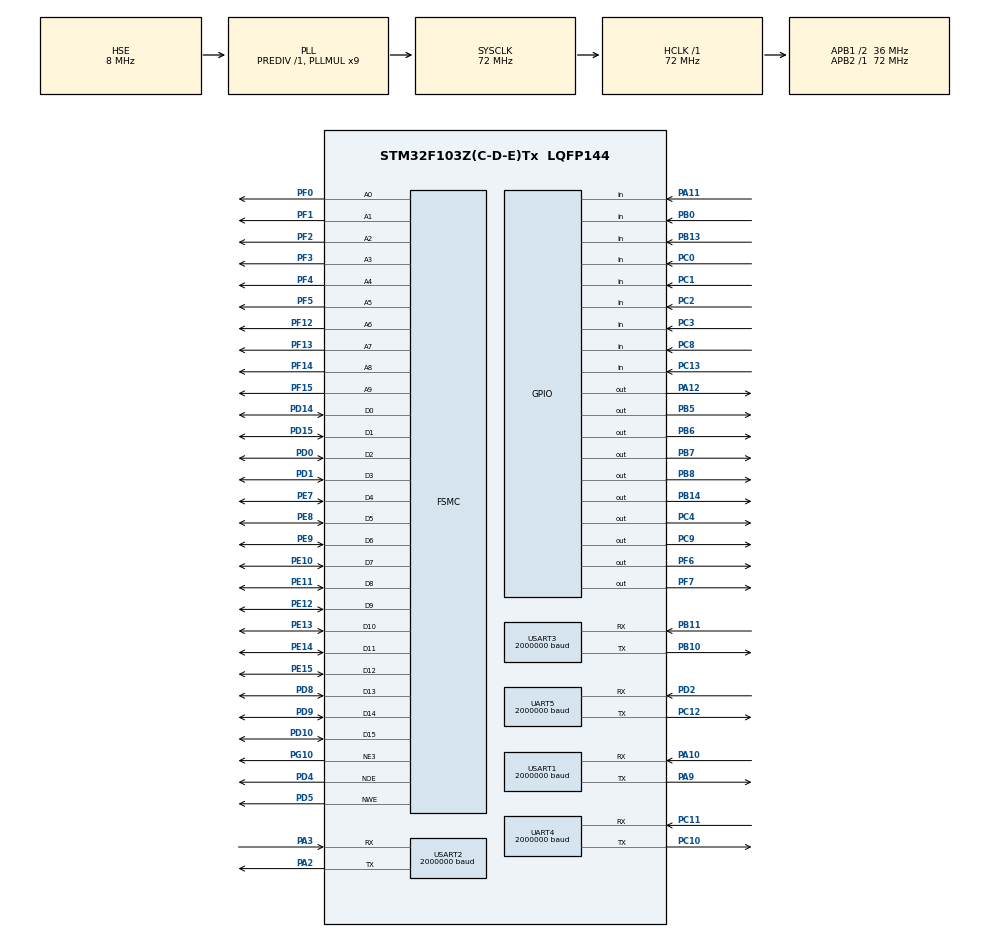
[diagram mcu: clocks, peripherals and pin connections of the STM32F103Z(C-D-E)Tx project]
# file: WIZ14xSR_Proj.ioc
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Dma.USART3_RX.6.Instance=DMA1_Channel3
SH.FSMC_D1_DA1.0=FSMC_D1,16b-d3
PB10.Mode=Asynchronous
Dma.USART3_TX.3.MemInc=DMA_MINC_ENABLE
PC12.Signal=UART5_TX
SH.FSMC_NWE.0=FSMC_NWE,Sram3
Dma.USART3_TX.3.MemDataAlignment=DMA_MDATAALIGN_BYTE
PB13.Signal=GPIO_Input
RCC.SYSCLKSource=RCC_SYSCLKSOURCE_PLLCLK
NVIC.DMA1_Channel3_IRQn=true\:0\:0\:false\:false\:true\:false\:true
Dma.USART2_TX.2.PeriphDataAlignment=DMA_PDATAALIGN_BYTE
USART3.BaudRate=2000000
Dma.UART4_TX.0.Direction=DMA_MEMORY_TO_PERIPH
PF7.Signal=GPIO_Output
Dma.UART4_TX.0.MemDataAlignment=DMA_MDATAALIGN_BYTE
PD4.Signal=FSMC_NOE
RCC.APB2TimFreq_Value=72000000
PB6.Signal=GPIO_Output
PC3.Signal=GPIO_Input
PD0.Signal=FSMC_D2_DA2
PD8.Signal=FSMC_D13_DA13
Dma.USART2_TX.2.Priority=DMA_PRIORITY_LOW
SH.FSMC_D10_DA10.0=FSMC_D10,16b-d3
Dma.USART3_RX.6.Direction=DMA_PERIPH_TO_MEMORY
PE9.Signal=FSMC_D6_DA6
SH.FSMC_A0.0=FSMC_A0,10b-a3
Dma.USART2_TX.2.MemDataAlignment=DMA_MDATAALIGN_BYTE
NVIC.TIM2_IRQn=true\:0\:0\:false\:false\:true\:true\:true
NVIC.DMA2_Channel3_IRQn=true\:0\:0\:false\:false\:true\:false\:true
PF3.Signal=FSMC_A3
PE10.Signal=FSMC_D7_DA7
SH.FSMC_D5_DA5.0=FSMC_D5,16b-d3
Mcu.Package=LQFP144
TIM2.Prescaler=1000
Dma.USART1_RX.4.Direction=DMA_PERIPH_TO_MEMORY
Dma.USART2_RX.5.PeriphDataAlignment=DMA_PDATAALIGN_BYTE
PA10.Signal=USART1_RX
PC11.Mode=Asynchronous
SH.FSMC_A1.0=FSMC_A1,10b-a3
FSMC.BusTurnAroundDuration3=0
SH.FSMC_D3_DA3.0=FSMC_D3,16b-d3
PF14.Signal=FSMC_A8
RCC.APB1TimFreq_Value=72000000
UART5.BaudRate=2000000
FSMC.WriteOperation3=FSMC_WRITE_OPERATION_ENABLE
NVIC.DMA1_Channel4_IRQn=true\:0\:0\:false\:false\:true\:false\:true
NVIC.USART1_IRQn=true\:0\:0\:false\:false\:true\:true\:true
PD15.Signal=FSMC_D1_DA1
NVIC.UART4_IRQn=true\:0\:0\:false\:false\:true\:true\:true
NVIC.DMA1_Channel6_IRQn=true\:0\:0\:false\:false\:true\:false\:true
SH.FSMC_A2.0=FSMC_A2,10b-a3
Dma.USART3_RX.6.MemDataAlignment=DMA_MDATAALIGN_BYTE
Dma.USART2_TX.2.MemInc=DMA_MINC_ENABLE
PC2.Signal=GPIO_Input
PD1.Signal=FSMC_D3_DA3
Dma.USART1_RX.4.Priority=DMA_PRIORITY_LOW
SH.FSMC_D9_DA9.0=FSMC_D9,16b-d3
UART5.VirtualMode=Asynchronous
Dma.USART1_RX.4.Mode=DMA_CIRCULAR
PC0.Signal=GPIO_Input
RCC.APB1CLKDivider=RCC_HCLK_DIV2
UART4.VirtualMode=Asynchronous
Dma.USART3_RX.6.PeriphInc=DMA_PINC_DISABLE
VP_SYS_VS_ND.Mode=No_Debug
USART2.BaudRate=2000000
Dma.USART3_TX.3.PeriphInc=DMA_PINC_DISABLE
PG10.Signal=FSMC_NE3
SH.FSMC_D8_DA8.0=FSMC_D8,16b-d3
PD10.Signal=FSMC_D15_DA15
PA3.Mode=Asynchronous
PB11.Mode=Asynchronous
Dma.UART4_RX.7.Priority=DMA_PRIORITY_HIGH
FSMC.DataSetupTime3=3
SH.FSMC_A3.0=FSMC_A3,10b-a3
PA9.Signal=USART1_TX
Dma.UART4_TX.0.PeriphInc=DMA_PINC_DISABLE
OSC_IN.Signal=RCC_OSC_IN
PB10.Signal=USART3_TX
PB14.Signal=GPIO_Output
Dma.UART4_TX.0.Priority=DMA_PRIORITY_LOW
PC12.Mode=Asynchronous
SH.FSMC_D7_DA7.0=FSMC_D7,16b-d3
Dma.USART1_TX.1.MemDataAlignment=DMA_MDATAALIGN_BYTE
PE14.Signal=FSMC_D11_DA11
PE15.Signal=FSMC_D12_DA12
PE8.Signal=FSMC_D5_DA5
SH.FSMC_A4.0=FSMC_A4,10b-a3
Dma.UART4_RX.7.Mode=DMA_CIRCULAR
PF13.Signal=FSMC_A7
Dma.USART3_RX.6.Mode=DMA_CIRCULAR
TIM2.Period=72
Dma.USART3_TX.3.Mode=DMA_NORMAL
PB5.Signal=GPIO_Output
Dma.USART2_TX.2.Instance=DMA1_Channel7
OSC_IN.Mode=HSE-External-Oscillator
Dma.UART4_TX.0.MemInc=DMA_MINC_ENABLE
Dma.USART1_TX.1.Mode=DMA_NORMAL
USART1.VirtualMode=VM_ASYNC
PA11.Signal=GPIO_Input
SH.FSMC_D15_DA15.0=FSMC_D15,16b-d3
ProjectManager.HeapSize=0x200
NVIC.PriorityGroup=NVIC_PRIORITYGROUP_4
SH.FSMC_A5.0=FSMC_A5,10b-a3
Dma.UART4_RX.7.MemDataAlignment=DMA_MDATAALIGN_BYTE
TIM2.AutoReloadPreload=TIM_AUTORELOAD_PRELOAD_ENABLE
PF4.Signal=FSMC_A4
PD2.Signal=UART5_RX
PB0.Signal=GPIO_Input
PC1.Signal=GPIO_Input
Dma.USART3_RX.6.PeriphDataAlignment=DMA_PDATAALIGN_BYTE
Dma.USART3_TX.3.Priority=DMA_PRIORITY_LOW
Mcu.Family=STM32F1
NVIC.USART3_IRQn=true\:0\:0\:false\:false\:true\:true\:true
FSMC.AddressSetupTime3=0
NVIC.DMA1_Channel5_IRQn=true\:0\:0\:false\:false\:true\:false\:true
Dma.USART3_TX.3.PeriphDataAlignment=DMA_PDATAALIGN_BYTE
Dma.USART1_TX.1.MemInc=DMA_MINC_ENABLE
SH.FSMC_A6.0=FSMC_A6,10b-a3
USART1.BaudRate=2000000
PC10.Signal=UART4_TX
SH.FSMC_D0_DA0.0=FSMC_D0,16b-d3
PB11.Signal=USART3_RX
Dma.USART2_RX.5.Mode=DMA_CIRCULAR
ProjectManager.StackSize=0x400
NVIC.UART5_IRQn=true\:0\:0\:false\:false\:true\:true\:true
Dma.USART2_RX.5.MemInc=DMA_MINC_ENABLE
PA12.Signal=GPIO_Output
Dma.UART4_RX.7.PeriphDataAlignment=DMA_PDATAALIGN_BYTE
SH.FSMC_A7.0=FSMC_A7,10b-a3
UART4.BaudRate=2000000
RCC.HCLKFreq_Value=72000000
Dma.USART1_RX.4.MemDataAlignment=DMA_MDATAALIGN_BYTE
PF12.Signal=FSMC_A6
OSC_OUT.Mode=HSE-External-Oscillator
OSC_OUT.Signal=RCC_OSC_OUT
RCC.AHBFreq_Value=72000000
Dma.USART2_RX.5.MemDataAlignment=DMA_MDATAALIGN_BYTE
RCC.PLLMUL=RCC_PLL_MUL9
Dma.USART1_RX.4.Instance=DMA1_Channel5
Dma.USART3_TX.3.Direction=DMA_MEMORY_TO_PERIPH
PE13.Signal=FSMC_D10_DA10
SH.FSMC_D14_DA14.0=FSMC_D14,16b-d3
SH.FSMC_D6_DA6.0=FSMC_D6,16b-d3
SH.FSMC_A8.0=FSMC_A8,10b-a3
PB7.Signal=GPIO_Output
Dma.USART2_RX.5.Priority=DMA_PRIORITY_LOW
Dma.USART1_TX.1.PeriphDataAlignment=DMA_PDATAALIGN_BYTE
SH.FSMC_D4_DA4.0=FSMC_D4,16b-d3
USART2.VirtualMode=VM_ASYNC
SH.FSMC_D13_DA13.0=FSMC_D13,16b-d3
Dma.UART4_RX.7.Direction=DMA_PERIPH_TO_MEMORY
PF5.Signal=FSMC_A5
SH.FSMC_A9.0=FSMC_A9,10b-a3
Dma.Request2=USART2_TX
Dma.Request1=USART1_TX
Dma.Request4=USART1_RX
Dma.Request3=USART3_TX
Dma.Request6=USART3_RX
Dma.Request5=USART2_RX
Dma.USART1_TX.1.Priority=DMA_PRIORITY_LOW
SH.FSMC_D2_DA2.0=FSMC_D2,16b-d3
PF0.Signal=FSMC_A0
Dma.Request7=UART4_RX
NVIC.DMA2_Channel4_5_IRQn=true\:0\:0\:false\:false\:true\:false\:true
PE7.Signal=FSMC_D4_DA4
Dma.Request0=UART4_TX
PA3.Signal=USART2_RX
Dma.USART1_TX.1.Direction=DMA_MEMORY_TO_PERIPH
RCC.PLLSourceVirtual=RCC_PLLSOURCE_HSE
Dma.USART1_TX.1.Instance=DMA1_Channel4
Dma.USART2_TX.2.PeriphInc=DMA_PINC_DISABLE
SH.FSMC_D12_DA12.0=FSMC_D12,16b-d3
PA10.Mode=Asynchronous
Dma.UART4_TX.0.PeriphDataAlignment=DMA_PDATAALIGN_BYTE
Dma.USART2_RX.5.PeriphInc=DMA_PINC_DISABLE
PC11.Signal=UART4_RX
PC8.Signal=GPIO_Input
PC4.Signal=GPIO_Output
PC10.Mode=Asynchronous
PG10.Mode=NorPsramChipSelect3_3
PC13-TAMPER-RTC.Signal=GPIO_Input
PD9.Signal=FSMC_D14_DA14
PD5.Signal=FSMC_NWE
NVIC.USART2_IRQn=true\:0\:0\:false\:false\:true\:true\:true
Dma.USART3_RX.6.MemInc=DMA_MINC_ENABLE
PA9.Mode=Asynchronous
PF6.Signal=GPIO_Output
NVIC.DMA1_Channel2_IRQn=true\:0\:0\:false\:false\:true\:false\:true
ProjectManager.TargetToolchain=STM32CubeIDE
PF2.Signal=FSMC_A2
RCC.USBFreq_Value=72000000
PE11.Signal=FSMC_D8_DA8
PD2.Mode=Asynchronous
Dma.USART3_TX.3.Instance=DMA1_Channel2
board=custom
RCC.APB2Freq_Value=72000000
VP_TIM2_VS_ClockSourceINT.Mode=Internal
Dma.USART1_RX.4.PeriphDataAlignment=DMA_PDATAALIGN_BYTE
Dma.UART4_TX.0.Mode=DMA_NORMAL
PF15.Signal=FSMC_A9
Dma.USART3_RX.6.Priority=DMA_PRIORITY_HIGH
PF1.Signal=FSMC_A1
Mcu.Name=STM32F103Z(C-D-E)Tx
PE12.Signal=FSMC_D9_DA9
PA2.Signal=USART2_TX
Dma.USART2_TX.2.Mode=DMA_NORMAL
PD14.Signal=FSMC_D0_DA0
RCC.SYSCLKFreq_VALUE=72000000
USART3.VirtualMode=VM_ASYNC
Dma.UART4_RX.7.Instance=DMA2_Channel3
Dma.USART1_RX.4.MemInc=DMA_MINC_ENABLE
Dma.USART2_RX.5.Instance=DMA1_Channel6
Dma.USART1_TX.1.PeriphInc=DMA_PINC_DISABLE
SH.FSMC_D11_DA11.0=FSMC_D11,16b-d3
SH.FSMC_NOE.0=FSMC_NOE,Sram3
Dma.USART2_TX.2.Direction=DMA_MEMORY_TO_PERIPH
PB8.Signal=GPIO_Output
PA2.Mode=Asynchronous
Dma.USART1_RX.4.PeriphInc=DMA_PINC_DISABLE
NVIC.DMA1_Channel7_IRQn=true\:0\:0\:false\:false\:true\:false\:true
PC9.Signal=GPIO_Output
Dma.USART2_RX.5.Direction=DMA_PERIPH_TO_MEMORY
RCC.APB1Freq_Value=36000000
Dma.UART4_RX.7.MemInc=DMA_MINC_ENABLE
Dma.UART4_RX.7.PeriphInc=DMA_PINC_DISABLE
Dma.UART4_TX.0.Instance=DMA2_Channel5

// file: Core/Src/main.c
/* USER CODE BEGIN Header */
/**
  ******************************************************************************
  * @file           : main.c
  * @brief          : Main program body
  ******************************************************************************
  * @attention
  *
  * <h2><center>&copy; Copyright (c) 2021 STMicroelectronics.
  * All rights reserved.</center></h2>
  *
  * This software component is licensed by ST under BSD 3-Clause license,
  * the "License"; You may not use this file except in compliance with the
  * License. You may obtain a copy of the License at:
  *                        opensource.org/licenses/BSD-3-Clause
  *
  ******************************************************************************
  */
/* USER CODE END Header */
#include "main.h"

/* USER CODE BEGIN Includes */
#include "stdio.h"
#include "string.h"

#include "wizchip_conf.h"
#include "W5300BasicFunctions.h"

#include "socket.h"
/* USER CODE END Includes */

/* USER CODE BEGIN PD */
#define DATA_BUF_SIZE		2048
#define DEBUG_BUF_SIZE		DATA_BUF_SIZE + 20
#define PRINTF_BUF_SIZE		1024
/* USER CODE END PD */

TIM_HandleTypeDef htim2;

UART_HandleTypeDef huart4;
UART_HandleTypeDef huart5;
UART_HandleTypeDef huart1;
UART_HandleTypeDef huart2;
UART_HandleTypeDef huart3;
DMA_HandleTypeDef hdma_uart4_tx;
DMA_HandleTypeDef hdma_uart4_rx;
DMA_HandleTypeDef hdma_usart1_tx;
DMA_HandleTypeDef hdma_usart1_rx;
DMA_HandleTypeDef hdma_usart2_tx;
DMA_HandleTypeDef hdma_usart2_rx;
DMA_HandleTypeDef hdma_usart3_tx;
DMA_HandleTypeDef hdma_usart3_rx;

SRAM_HandleTypeDef hsram3;

/* USER CODE BEGIN PV */
wiz_NetInfo gWIZNETINFO = {
		.mac = {0x00, 0x08, 0xdc, 0xff, 0xff, 0xff},
		.ip = {192, 168, 0, 60},
		.sn = {255, 255, 255, 0},
		.gw = {192, 168, 0, 1},
		.dns = {168, 126, 63, 1},
		.dhcp = NETINFO_DHCP
};

uint8_t debugBuf[DEBUG_BUF_SIZE];
uint16_t debugWrite = 0;
uint16_t debugRead = 0;
uint8_t uart5TxBuf[DEBUG_BUF_SIZE];
uint16_t uart5TxLen = 0;
/* USER CODE END PV */

void SystemClock_Config(void);
static void MX_GPIO_Init(void);
static void MX_DMA_Init(void);
static void MX_USART2_UART_Init(void);
static void MX_TIM2_Init(void);
static void MX_UART4_Init(void);
static void MX_UART5_Init(void);
static void MX_USART1_UART_Init(void);
static void MX_USART3_UART_Init(void);
static void MX_FSMC_Init(void);

/* USER CODE BEGIN 0 */
int _write(int file, char *ptr, int len)
{
//	for(i=0; i<len; i++)
//		ITM_SendChar((*ptr++));
//	HAL_UART_Transmit(&huart5, (uint8_t *)ptr, len, 10);
//	HAL_UART_Transmit_IT(&huart5, (uint8_t *)ptr, len);
	for(int i=0; i<len; i++)
	{
		debugBuf[debugWrite++] = ptr[i];
		if(debugWrite >= DEBUG_BUF_SIZE)
			debugWrite = 0;
	}

	return len;
}

uint8_t count = 0;
uint16_t ms_count = 0;
uint8_t onesecondElapsed = 0;
uint8_t intervalElapsed = 0;

uint8_t msg[200];
uint16_t retval;

#define MAX_RX_BUF 	512

#define ARRAY_LEN(x)	(sizeof(x) / sizeof((x)[0]))

uint16_t sentbytes = 0;

uint8_t W5300_memsize[2][8] = {{8,8,8,8,8,8,8,8}, {8,8,8,8,8,8,8,8}};
//uint8_t W5300_memsize[2][8] = {{4,4,4,4,4,4,4,4}, {4,4,4,4,4,4,4,4}};

//DMA 처리를 위한 송수신 버퍼
uint8_t DMATxBuf[4][DATA_BUF_SIZE] = {0,};
uint8_t DMARxBuf[4][DATA_BUF_SIZE] = {0,};

uint8_t RxBuf[4][DATA_BUF_SIZE] = {0,};

//UART
uint8_t UartTxEnable[4] = {1, 1, 1, 1};
uint8_t UartRxEnable[4] = {0, 0, 0, 0};

uint8_t DMATxStart[4] = {0, 0, 0, 0};

uint16_t ethDataLen3 = 0;
uint16_t ethDataLen4 = 0;

uint16_t _TX_Count[4] = {0,};
uint16_t _HT_Count[4] = {0,};
uint16_t _TC_Count[4] = {0,};
uint16_t _IDLE_Count[4] = {0,};

uint32_t totalSentBytes[4] = {0,};
uint32_t totalRcvdBytes[4] = {0,};

uint16_t wrPtr[4] = {0,};
uint16_t rdPtr[4] = {0,};
uint16_t rcvdLen[4] = {0,};
uint8_t rcvFlag[4] = {0,};

uint8_t ch;

#define BAUDRATE		2000000

#define _LOOPBACK_DEBUG_
/* USER CODE END 0 */

int main(void)
{
  /* USER CODE BEGIN 1 */
  uint8_t tmpaddr[6];

  /* USER CODE END 1 */

  /* MCU Configuration--------------------------------------------------------*/

  /* Reset of all peripherals, Initializes the Flash interface and the Systick. */
  HAL_Init();

  /* Configure the system clock */
  SystemClock_Config();

  /* Initialize all configured peripherals */
  MX_GPIO_Init();
  MX_DMA_Init();
  MX_USART2_UART_Init();
  MX_TIM2_Init();
  MX_UART4_Init();
  MX_UART5_Init();
  MX_USART1_UART_Init();
  MX_USART3_UART_Init();
  MX_FSMC_Init();
  /* USER CODE BEGIN 2 */
  HAL_TIM_Base_Start_IT(&htim2);
  /* USER CODE END 2 */

  /* Infinite loop */
  /* USER CODE BEGIN WHILE */

  Reset_W5300();

  reg_wizchip_bus_cbfunc(W5300_read, W5300_write);

  printf("GetMR()=%04X\r\n", getMR());

//  getSHAR(tmpaddr);
//  printf("SHAR=%02X:%02X:%02X:%02X:%02X:%02X\r\n", tmpaddr[0], tmpaddr[1], tmpaddr[2], tmpaddr[3], tmpaddr[4], tmpaddr[5]);
//  getSIPR(tmpaddr);
//  printf("SIPR=%d.%d.%d.%d\r\n", tmpaddr[0], tmpaddr[1], tmpaddr[2], tmpaddr[3]);
//  getGAR(tmpaddr);
//  printf("SIPR=%d.%d.%d.%d\r\n", tmpaddr[0], tmpaddr[1], tmpaddr[2], tmpaddr[3]);
//  getSUBR(tmpaddr);
//  printf("SUBR=%d.%d.%d.%d\r\n", tmpaddr[0], tmpaddr[1], tmpaddr[2], tmpaddr[3]);
//
//  setSHAR(gWIZNETINFO.mac);
//  setSIPR(gWIZNETINFO.ip);
//  setGAR(gWIZNETINFO.gw);
//  setSUBR(gWIZNETINFO.sn);

  W5300Initialize(W5300_memsize);
  printf("GetTMS01R()\%04X\r\n", getTMS01R());
  printf("GetTMS23R()\%04X\r\n", getTMS23R());
  printf("GetTMS45R()\%04X\r\n", getTMS45R());
  printf("GetTMS67R()\%04X\r\n", getTMS67R());
  printf("GetRMS01R()\%04X\r\n", getRMS01R());
  printf("GetRMS23R()\%04X\r\n", getRMS23R());
  printf("GetRMS45R()\%04X\r\n", getRMS45R());
  printf("GetRMS67R()\%04X\r\n", getRMS67R());

  ctlnetwork(CN_SET_NETINFO, (void *)&gWIZNETINFO);
  print_network_information();

//  memset(tmpbuf, 0, MAX_RX_BUF);
//  HAL_UART_Receive_DMA(&huart1, &rxByte1, 1);
//  HAL_UART_Receive_DMA(&huart2, &rxByte2, 1);

//  __HAL_UART_ENABLE_IT(&huart1, UART_IT_IDLE);
//  HAL_UART_Receive_DMA(&huart1, DMARxBuf[0], DATA_BUF_SIZE);

  __HAL_UART_ENABLE_IT(&huart2, UART_IT_IDLE);
  HAL_UART_Receive_DMA(&huart2, DMARxBuf[1], DATA_BUF_SIZE);

  __HAL_UART_ENABLE_IT(&huart3, UART_IT_IDLE);
  HAL_UART_Receive_DMA(&huart3, DMARxBuf[2], DATA_BUF_SIZE);

  __HAL_UART_ENABLE_IT(&huart4, UART_IT_IDLE);
  HAL_UART_Receive_DMA(&huart4, DMARxBuf[3], DATA_BUF_SIZE);

  while (1)
  {
    /* USER CODE END WHILE */

    /* USER CODE BEGIN 3 */
	  if(onesecondElapsed)
	  {
		  onesecondElapsed = 0;
		  count++;	// increment count
		  HAL_GPIO_TogglePin(DEBUG_LED_GPIO_Port, DEBUG_LED_Pin);

	  }

	  if(intervalElapsed)
	  {
		  intervalElapsed = 0;

		  for(ch=0; ch<4; ch++)
		  {
			  if(UartTxEnable[ch])
				  DMATxStart[ch] = 1;
//			  printf("CH[%d] UartTxEnable: %d, DMATxStart: %d\r\n",
//					  ch, UartTxEnable[ch], DMATxStart[ch]);
		  }
	  }

//	  DMALoopback(1);
//	  DMALoopback(2);
//	  DMALoopback(3);
	  U2E_tcps(1, 5000);
	  U2E_tcps(2, 5001);
	  U2E_tcps(3, 5002);

	  if(HAL_UART_GetState(&huart5) == HAL_UART_STATE_READY)
	  {
		  if(debugWrite != debugRead)
		  {
			  if(debugWrite > debugRead)
			  {
				  uart5TxLen = debugWrite - debugRead;
				  memcpy(uart5TxBuf, debugBuf + debugRead, uart5TxLen);
				  debugRead = debugWrite;
			  }else
			  {
				  uart5TxLen = DEBUG_BUF_SIZE - debugRead;
				  memcpy(uart5TxBuf, debugBuf + debugRead, uart5TxLen);
				  memcpy(uart5TxBuf + uart5TxLen, debugBuf, debugWrite);
				  uart5TxLen += debugWrite;
				  debugRead = debugWrite;
			  }
			  HAL_UART_Transmit_IT(&huart5, uart5TxBuf, uart5TxLen);
		  }
	  }
  }
  /* USER CODE END 3 */
}

void SystemClock_Config(void)
{
  RCC_OscInitTypeDef RCC_OscInitStruct = {0};
  RCC_ClkInitTypeDef RCC_ClkInitStruct = {0};

  /** Initializes the RCC Oscillators according to the specified parameters
  * in the RCC_OscInitTypeDef structure.
  */
  RCC_OscInitStruct.OscillatorType = RCC_OSCILLATORTYPE_HSE;
  RCC_OscInitStruct.HSEState = RCC_HSE_ON;
  RCC_OscInitStruct.HSEPredivValue = RCC_HSE_PREDIV_DIV1;
  RCC_OscInitStruct.HSIState = RCC_HSI_ON;
  RCC_OscInitStruct.PLL.PLLState = RCC_PLL_ON;
  RCC_OscInitStruct.PLL.PLLSource = RCC_PLLSOURCE_HSE;
  RCC_OscInitStruct.PLL.PLLMUL = RCC_PLL_MUL9;
  if (HAL_RCC_OscConfig(&RCC_OscInitStruct) != HAL_OK)
  {
    Error_Handler();
  }
  /** Initializes the CPU, AHB and APB buses clocks
  */
  RCC_ClkInitStruct.ClockType = RCC_CLOCKTYPE_HCLK|RCC_CLOCKTYPE_SYSCLK
                              |RCC_CLOCKTYPE_PCLK1|RCC_CLOCKTYPE_PCLK2;
  RCC_ClkInitStruct.SYSCLKSource = RCC_SYSCLKSOURCE_PLLCLK;
  RCC_ClkInitStruct.AHBCLKDivider = RCC_SYSCLK_DIV1;
  RCC_ClkInitStruct.APB1CLKDivider = RCC_HCLK_DIV2;
  RCC_ClkInitStruct.APB2CLKDivider = RCC_HCLK_DIV1;

  if (HAL_RCC_ClockConfig(&RCC_ClkInitStruct, FLASH_LATENCY_2) != HAL_OK)
  {
    Error_Handler();
  }
}

static void MX_TIM2_Init(void)
{

  TIM_ClockConfigTypeDef sClockSourceConfig = {0};
  TIM_MasterConfigTypeDef sMasterConfig = {0};

  htim2.Instance = TIM2;
  htim2.Init.Prescaler = 1000;
  htim2.Init.CounterMode = TIM_COUNTERMODE_UP;
  htim2.Init.Period = 72;
  htim2.Init.ClockDivision = TIM_CLOCKDIVISION_DIV1;
  htim2.Init.AutoReloadPreload = TIM_AUTORELOAD_PRELOAD_ENABLE;
  if (HAL_TIM_Base_Init(&htim2) != HAL_OK)
  {
    Error_Handler();
  }
  sClockSourceConfig.ClockSource = TIM_CLOCKSOURCE_INTERNAL;
  if (HAL_TIM_ConfigClockSource(&htim2, &sClockSourceConfig) != HAL_OK)
  {
    Error_Handler();
  }
  sMasterConfig.MasterOutputTrigger = TIM_TRGO_RESET;
  sMasterConfig.MasterSlaveMode = TIM_MASTERSLAVEMODE_DISABLE;
  if (HAL_TIMEx_MasterConfigSynchronization(&htim2, &sMasterConfig) != HAL_OK)
  {
    Error_Handler();
  }

}

static void MX_UART4_Init(void)
{

  huart4.Instance = UART4;
  huart4.Init.BaudRate = 2000000;
  huart4.Init.WordLength = UART_WORDLENGTH_8B;
  huart4.Init.StopBits = UART_STOPBITS_1;
  huart4.Init.Parity = UART_PARITY_NONE;
  huart4.Init.Mode = UART_MODE_TX_RX;
  huart4.Init.HwFlowCtl = UART_HWCONTROL_NONE;
  huart4.Init.OverSampling = UART_OVERSAMPLING_16;
  if (HAL_UART_Init(&huart4) != HAL_OK)
  {
    Error_Handler();
  }

}

static void MX_UART5_Init(void)
{

  huart5.Instance = UART5;
  huart5.Init.BaudRate = 2000000;
  huart5.Init.WordLength = UART_WORDLENGTH_8B;
  huart5.Init.StopBits = UART_STOPBITS_1;
  huart5.Init.Parity = UART_PARITY_NONE;
  huart5.Init.Mode = UART_MODE_TX_RX;
  huart5.Init.HwFlowCtl = UART_HWCONTROL_NONE;
  huart5.Init.OverSampling = UART_OVERSAMPLING_16;
  if (HAL_UART_Init(&huart5) != HAL_OK)
  {
    Error_Handler();
  }

}

static void MX_USART1_UART_Init(void)
{

  huart1.Instance = USART1;
  huart1.Init.BaudRate = 2000000;
  huart1.Init.WordLength = UART_WORDLENGTH_8B;
  huart1.Init.StopBits = UART_STOPBITS_1;
  huart1.Init.Parity = UART_PARITY_NONE;
  huart1.Init.Mode = UART_MODE_TX_RX;
  huart1.Init.HwFlowCtl = UART_HWCONTROL_NONE;
  huart1.Init.OverSampling = UART_OVERSAMPLING_16;
  if (HAL_UART_Init(&huart1) != HAL_OK)
  {
    Error_Handler();
  }

}

static void MX_USART2_UART_Init(void)
{

  huart2.Instance = USART2;
  huart2.Init.BaudRate = 2000000;
  huart2.Init.WordLength = UART_WORDLENGTH_8B;
  huart2.Init.StopBits = UART_STOPBITS_1;
  huart2.Init.Parity = UART_PARITY_NONE;
  huart2.Init.Mode = UART_MODE_TX_RX;
  huart2.Init.HwFlowCtl = UART_HWCONTROL_NONE;
  huart2.Init.OverSampling = UART_OVERSAMPLING_16;
  if (HAL_UART_Init(&huart2) != HAL_OK)
  {
    Error_Handler();
  }

}

static void MX_USART3_UART_Init(void)
{

  huart3.Instance = USART3;
  huart3.Init.BaudRate = 2000000;
  huart3.Init.WordLength = UART_WORDLENGTH_8B;
  huart3.Init.StopBits = UART_STOPBITS_1;
  huart3.Init.Parity = UART_PARITY_NONE;
  huart3.Init.Mode = UART_MODE_TX_RX;
  huart3.Init.HwFlowCtl = UART_HWCONTROL_NONE;
  huart3.Init.OverSampling = UART_OVERSAMPLING_16;
  if (HAL_UART_Init(&huart3) != HAL_OK)
  {
    Error_Handler();
  }

}

static void MX_DMA_Init(void)
{

  /* DMA controller clock enable */
  __HAL_RCC_DMA2_CLK_ENABLE();
  __HAL_RCC_DMA1_CLK_ENABLE();

  /* DMA interrupt init */
  /* DMA1_Channel2_IRQn interrupt configuration */
  HAL_NVIC_SetPriority(DMA1_Channel2_IRQn, 0, 0);
  HAL_NVIC_EnableIRQ(DMA1_Channel2_IRQn);
  /* DMA1_Channel3_IRQn interrupt configuration */
  HAL_NVIC_SetPriority(DMA1_Channel3_IRQn, 0, 0);
  HAL_NVIC_EnableIRQ(DMA1_Channel3_IRQn);
  /* DMA1_Channel4_IRQn interrupt configuration */
  HAL_NVIC_SetPriority(DMA1_Channel4_IRQn, 0, 0);
  HAL_NVIC_EnableIRQ(DMA1_Channel4_IRQn);
  /* DMA1_Channel5_IRQn interrupt configuration */
  HAL_NVIC_SetPriority(DMA1_Channel5_IRQn, 0, 0);
  HAL_NVIC_EnableIRQ(DMA1_Channel5_IRQn);
  /* DMA1_Channel6_IRQn interrupt configuration */
  HAL_NVIC_SetPriority(DMA1_Channel6_IRQn, 0, 0);
  HAL_NVIC_EnableIRQ(DMA1_Channel6_IRQn);
  /* DMA1_Channel7_IRQn interrupt configuration */
  HAL_NVIC_SetPriority(DMA1_Channel7_IRQn, 0, 0);
  HAL_NVIC_EnableIRQ(DMA1_Channel7_IRQn);
  /* DMA2_Channel3_IRQn interrupt configuration */
  HAL_NVIC_SetPriority(DMA2_Channel3_IRQn, 0, 0);
  HAL_NVIC_EnableIRQ(DMA2_Channel3_IRQn);
  /* DMA2_Channel4_5_IRQn interrupt configuration */
  HAL_NVIC_SetPriority(DMA2_Channel4_5_IRQn, 0, 0);
  HAL_NVIC_EnableIRQ(DMA2_Channel4_5_IRQn);

}

static void MX_GPIO_Init(void)
{
  GPIO_InitTypeDef GPIO_InitStruct = {0};

  /* GPIO Ports Clock Enable */
  __HAL_RCC_GPIOC_CLK_ENABLE();
  __HAL_RCC_GPIOF_CLK_ENABLE();
  __HAL_RCC_GPIOA_CLK_ENABLE();
  __HAL_RCC_GPIOB_CLK_ENABLE();
  __HAL_RCC_GPIOE_CLK_ENABLE();
  __HAL_RCC_GPIOD_CLK_ENABLE();
  __HAL_RCC_GPIOG_CLK_ENABLE();

  /*Configure GPIO pin Output Level */
  HAL_GPIO_WritePin(GPIOF, GPIO_PIN_6|GPIO_PIN_7, GPIO_PIN_RESET);

  /*Configure GPIO pin Output Level */
  HAL_GPIO_WritePin(GPIOC, GPIO_PIN_4|GPIO_PIN_9, GPIO_PIN_RESET);

  /*Configure GPIO pin Output Level */
  HAL_GPIO_WritePin(GPIOB, GPIO_PIN_14|GPIO_PIN_5|GPIO_PIN_6|GPIO_PIN_7
                          |GPIO_PIN_8, GPIO_PIN_RESET);

  /*Configure GPIO pin Output Level */
  HAL_GPIO_WritePin(GPIOA, GPIO_PIN_12, GPIO_PIN_RESET);

  /*Configure GPIO pins : PC13 PC0 PC1 PC2
                           PC3 PC8 */
  GPIO_InitStruct.Pin = GPIO_PIN_13|GPIO_PIN_0|GPIO_PIN_1|GPIO_PIN_2
                          |GPIO_PIN_3|GPIO_PIN_8;
  GPIO_InitStruct.Mode = GPIO_MODE_INPUT;
  GPIO_InitStruct.Pull = GPIO_NOPULL;
  HAL_GPIO_Init(GPIOC, &GPIO_InitStruct);

  /*Configure GPIO pins : PF6 PF7 */
  GPIO_InitStruct.Pin = GPIO_PIN_6|GPIO_PIN_7;
  GPIO_InitStruct.Mode = GPIO_MODE_OUTPUT_PP;
  GPIO_InitStruct.Pull = GPIO_NOPULL;
  GPIO_InitStruct.Speed = GPIO_SPEED_FREQ_LOW;
  HAL_GPIO_Init(GPIOF, &GPIO_InitStruct);

  /*Configure GPIO pins : PC4 PC9 */
  GPIO_InitStruct.Pin = GPIO_PIN_4|GPIO_PIN_9;
  GPIO_InitStruct.Mode = GPIO_MODE_OUTPUT_PP;
  GPIO_InitStruct.Pull = GPIO_NOPULL;
  GPIO_InitStruct.Speed = GPIO_SPEED_FREQ_LOW;
  HAL_GPIO_Init(GPIOC, &GPIO_InitStruct);

  /*Configure GPIO pins : PB0 PB13 */
  GPIO_InitStruct.Pin = GPIO_PIN_0|GPIO_PIN_13;
  GPIO_InitStruct.Mode = GPIO_MODE_INPUT;
  GPIO_InitStruct.Pull = GPIO_NOPULL;
  HAL_GPIO_Init(GPIOB, &GPIO_InitStruct);

  /*Configure GPIO pins : PB14 PB5 PB6 PB7
                           PB8 */
  GPIO_InitStruct.Pin = GPIO_PIN_14|GPIO_PIN_5|GPIO_PIN_6|GPIO_PIN_7
                          |GPIO_PIN_8;
  GPIO_InitStruct.Mode = GPIO_MODE_OUTPUT_PP;
  GPIO_InitStruct.Pull = GPIO_NOPULL;
  GPIO_InitStruct.Speed = GPIO_SPEED_FREQ_LOW;
  HAL_GPIO_Init(GPIOB, &GPIO_InitStruct);

  /*Configure GPIO pin : PA11 */
  GPIO_InitStruct.Pin = GPIO_PIN_11;
  GPIO_InitStruct.Mode = GPIO_MODE_INPUT;
  GPIO_InitStruct.Pull = GPIO_NOPULL;
  HAL_GPIO_Init(GPIOA, &GPIO_InitStruct);

  /*Configure GPIO pin : PA12 */
  GPIO_InitStruct.Pin = GPIO_PIN_12;
  GPIO_InitStruct.Mode = GPIO_MODE_OUTPUT_PP;
  GPIO_InitStruct.Pull = GPIO_NOPULL;
  GPIO_InitStruct.Speed = GPIO_SPEED_FREQ_LOW;
  HAL_GPIO_Init(GPIOA, &GPIO_InitStruct);

}

/* FSMC initialization function */
static void MX_FSMC_Init(void)
{

  FSMC_NORSRAM_TimingTypeDef Timing = {0};

  /** Perform the SRAM3 memory initialization sequence
  */
  hsram3.Instance = FSMC_NORSRAM_DEVICE;
  hsram3.Extended = FSMC_NORSRAM_EXTENDED_DEVICE;
  /* hsram3.Init */
  hsram3.Init.NSBank = FSMC_NORSRAM_BANK3;
  hsram3.Init.DataAddressMux = FSMC_DATA_ADDRESS_MUX_DISABLE;
  hsram3.Init.MemoryType = FSMC_MEMORY_TYPE_SRAM;
  hsram3.Init.MemoryDataWidth = FSMC_NORSRAM_MEM_BUS_WIDTH_16;
  hsram3.Init.BurstAccessMode = FSMC_BURST_ACCESS_MODE_DISABLE;
  hsram3.Init.WaitSignalPolarity = FSMC_WAIT_SIGNAL_POLARITY_LOW;
  hsram3.Init.WrapMode = FSMC_WRAP_MODE_DISABLE;
  hsram3.Init.WaitSignalActive = FSMC_WAIT_TIMING_BEFORE_WS;
  hsram3.Init.WriteOperation = FSMC_WRITE_OPERATION_ENABLE;
  hsram3.Init.WaitSignal = FSMC_WAIT_SIGNAL_DISABLE;
  hsram3.Init.ExtendedMode = FSMC_EXTENDED_MODE_DISABLE;
  hsram3.Init.AsynchronousWait = FSMC_ASYNCHRONOUS_WAIT_DISABLE;
  hsram3.Init.WriteBurst = FSMC_WRITE_BURST_DISABLE;
  /* Timing */
  Timing.AddressSetupTime = 0;
  Timing.AddressHoldTime = 15;
  Timing.DataSetupTime = 3;
  Timing.BusTurnAroundDuration = 0;
  Timing.CLKDivision = 16;
  Timing.DataLatency = 17;
  Timing.AccessMode = FSMC_ACCESS_MODE_A;
  /* ExtTiming */

  if (HAL_SRAM_Init(&hsram3, &Timing, NULL) != HAL_OK)
  {
    Error_Handler( );
  }

  /** Disconnect NADV
  */

  __HAL_AFIO_FSMCNADV_DISCONNECTED();

}

/* USER CODE BEGIN 4 */
void HAL_TIM_PeriodElapsedCallback(TIM_HandleTypeDef *htim)
{
	if (htim->Instance == htim2.Instance)
	{
		ms_count++;

		if((ms_count % 10) == 0) intervalElapsed = 1;

		if(ms_count >= 1000)
		{
			onesecondElapsed = 1;
			ms_count = 0;
		}

		/* Toggle LEDs */
	}
}

void UART_Data_Process(UART_HandleTypeDef *huart)
{
	uint8_t ch;

	if(huart->Instance == huart1.Instance)
	{
		ch = 0;
		printf("CH%d selected in UART_DATA_Process\r\n", ch);
	}
	else if(huart->Instance == huart2.Instance)
	{
		ch = 1;
		printf("CH%d selected in UART_DATA_Process\r\n", ch);	}
	else if(huart->Instance == huart3.Instance)
	{
		ch = 2;
		printf("CH%d selected in UART_DATA_Process\r\n", ch);	}
	else if(huart->Instance == huart4.Instance)
	{
		ch = 3;
		printf("CH%d selected in UART_DATA_Process\r\n", ch);	}

//	printf("UART_Data_Process was called with %d\r\n", ch);

	wrPtr[ch] = DATA_BUF_SIZE - huart->hdmarx->Instance->CNDTR;

	rcvdLen[ch] = 0;

	if(wrPtr[ch] != rdPtr[ch])
	{
		memset(RxBuf[ch], 0, DATA_BUF_SIZE);

		if (wrPtr[ch] > rdPtr[ch])
		{
			rcvdLen[ch] = wrPtr[ch] - rdPtr[ch];
			memcpy(RxBuf[ch], DMARxBuf[ch] + rdPtr[ch], rcvdLen[ch]);
		}else
		{
			rcvdLen[ch] = DATA_BUF_SIZE - rdPtr[ch];
			memcpy(RxBuf[ch], DMARxBuf[ch] + rdPtr[ch], rcvdLen[ch]);
			if(wrPtr[ch] > 0)
			{
				memcpy(RxBuf[ch] + rcvdLen[ch], DMARxBuf[ch], wrPtr[ch]);
				rcvdLen[ch] += wrPtr[ch];
			}
		}
		rdPtr[ch] = wrPtr[ch];
	}

	totalRcvdBytes[ch] += rcvdLen[ch];
}

void HAL_UART_RxCpltCallback(UART_HandleTypeDef *huart)
{
	uint8_t ch;

	if(huart->Instance == huart1.Instance) ch = 0;
	else if(huart->Instance == huart2.Instance) ch = 1;
	else if(huart->Instance == huart3.Instance) ch = 2;
	else if(huart->Instance == huart4.Instance) ch = 3;

	_TC_Count[ch]++;

//	printf("CH[%d] _TX_Count: %d, _HT_Count: %d, _TC_Count: %d, _IDLE_Count: %d, rdPtr: %d, wrPtr: %d, rcvdLen: %d, totalSentBytes: %d, totalRcvdBytes: %d\r\n",
//		  ch, _TX_Count[ch], _HT_Count[ch], _TC_Count[ch], _IDLE_Count[ch], rdPtr[ch], wrPtr[ch], rcvdLen[ch], totalSentBytes[ch], totalRcvdBytes[ch]);

//	UART_Data_Process(huart);

	if(rcvFlag[ch] == 0) rcvFlag[ch] = 1;
}

void HAL_UART_RxHalfCpltCallback(UART_HandleTypeDef *huart)
{
	uint8_t ch;

	if(huart->Instance == huart1.Instance) ch = 0;
	else if(huart->Instance == huart2.Instance) ch = 1;
	else if(huart->Instance == huart3.Instance) ch = 2;
	else if(huart->Instance == huart4.Instance) ch = 3;

	_HT_Count[ch]++;

//	printf("CH[%d] _TX_Count: %d, _HT_Count: %d, _TC_Count: %d, _IDLE_Count: %d, rdPtr: %d, wrPtr: %d, rcvdLen: %d, totalSentBytes: %d, totalRcvdBytes: %d\r\n",
//		  ch, _TX_Count[ch], _HT_Count[ch], _TC_Count[ch], _IDLE_Count[ch], rdPtr[ch], wrPtr[ch], rcvdLen[ch], totalSentBytes[ch], totalRcvdBytes[ch]);

//	UART_Data_Process(huart);

	if(rcvFlag[ch] == 0) rcvFlag[ch] = 1;
}

void UART_IDLECallback(UART_HandleTypeDef *huart)
{
	uint8_t ch;

	if(huart->Instance == huart1.Instance) ch = 0;
	else if(huart->Instance == huart2.Instance) ch = 1;
	else if(huart->Instance == huart3.Instance) ch = 2;
	else if(huart->Instance == huart4.Instance) ch = 3;

	_IDLE_Count[ch]++;

//	printf("CH[%d] _TX_Count: %d, _HT_Count: %d, _TC_Count: %d, _IDLE_Count: %d, rdPtr: %d, wrPtr: %d, rcvdLen: %d, totalSentBytes: %d, totalRcvdBytes: %d\r\n",
//		  ch, _TX_Count[ch], _HT_Count[ch], _TC_Count[ch], _IDLE_Count[ch], rdPtr[ch], wrPtr[ch], rcvdLen[ch], totalSentBytes[ch], totalRcvdBytes[ch]);

//	UART_Data_Process(huart);

	if(rcvFlag[ch] == 0) rcvFlag[ch] = 1;
}

void HAL_UART_TxCpltCallback(UART_HandleTypeDef *huart)
{
	uint8_t ch;

	if(huart->Instance == huart1.Instance) ch = 0;
	else if(huart->Instance == huart2.Instance) ch = 1;
	else if(huart->Instance == huart3.Instance) ch = 2;
	else if(huart->Instance == huart4.Instance) ch = 3;

	if(UartTxEnable[ch] == 0) UartTxEnable[ch] = 1;
//	printf("UartTxEnable[%d] was changed to %d in HAL_UART_TxCpltCallback\r\n", index, UartTxEnable[index]);
}

void print_network_information(void)
{

    wizchip_getnetinfo(&gWIZNETINFO);
    printf("Mac address: %02x:%02x:%02x:%02x:%02x:%02x\n\r",gWIZNETINFO.mac[0],gWIZNETINFO.mac[1],gWIZNETINFO.mac[2],gWIZNETINFO.mac[3],gWIZNETINFO.mac[4],gWIZNETINFO.mac[5]);
    printf("IP address : %d.%d.%d.%d\n\r",gWIZNETINFO.ip[0],gWIZNETINFO.ip[1],gWIZNETINFO.ip[2],gWIZNETINFO.ip[3]);
    printf("SM Mask    : %d.%d.%d.%d\n\r",gWIZNETINFO.sn[0],gWIZNETINFO.sn[1],gWIZNETINFO.sn[2],gWIZNETINFO.sn[3]);
    printf("Gate way   : %d.%d.%d.%d\n\r",gWIZNETINFO.gw[0],gWIZNETINFO.gw[1],gWIZNETINFO.gw[2],gWIZNETINFO.gw[3]);
    printf("DNS Server : %d.%d.%d.%d\n\r",gWIZNETINFO.dns[0],gWIZNETINFO.dns[1],gWIZNETINFO.dns[2],gWIZNETINFO.dns[3]);
}

UART_HandleTypeDef * gethuart(uint8_t sn)
{
	printf("ch: %d in gethuart\r\n", sn);
	if(sn == 0)
		return &huart1;
	else if(sn == 1)
		return &huart2;
	else if(sn == 2)
		return &huart3;
	else if(sn == 3)
		return &huart4;
}

void DMALoopback(uint8_t ch)
{
	UART_HandleTypeDef *huart;
	uint16_t i;

	// DMA Tx Start Flag가 set 되어 있으면 HAL_UART_Transmit_DMA를 수행한다.
	if(DMATxStart[ch])
	{
		for(i=0; i<DATA_BUF_SIZE; i++) DMATxBuf[ch][i] = '0' + (i % 10);

		HAL_UART_Transmit_DMA(gethuart(ch), DMATxBuf[ch], DATA_BUF_SIZE);
		printf("================\r\n");
		printf("UART%d HAL_UART_Transmit_DMA sent: %d bytes\r\n", (ch + 1), DATA_BUF_SIZE);
		_TX_Count[ch] += 1;
		totalSentBytes[ch] += DATA_BUF_SIZE;
		UartTxEnable[ch] = 0;
		DMATxStart[ch] = 0;
	}

	// DMA Rx Data가 있으면 User Buffer로 복사한다.
	if(rcvFlag[ch])
	{
//		huart = gethuart(ch);
		printf("ch[%d] rcvFlag: %d, %d, %d, %d\r\n", ch, rcvFlag[0], rcvFlag[1], rcvFlag[2], rcvFlag[3]);
		rcvFlag[ch] = 0;
		printf("ch[%d] rcvFlag: %d, %d, %d, %d\r\n", ch, rcvFlag[0], rcvFlag[1], rcvFlag[2], rcvFlag[3]);

		UART_Data_Process(gethuart(ch));
		printf("RxBuf[%d]:", ch);
		for(i=0; i<rcvdLen[ch]; i++)
		{
		  if((i % 100) == 0) printf("\r\n\t");
		  printf("%c", RxBuf[ch][i]);
		}
		printf("\r\n");
		printf("CH[%d] _TX_Count: %d, _HT_Count: %d, _TC_Count: %d, _IDLE_Count: %d, rdPtr: %d, wrPtr: %d, rcvdLen: %d, totalSentBytes: %d, totalRcvdBytes: %d\r\n",
			  ch, _TX_Count[ch], _HT_Count[ch], _TC_Count[ch], _IDLE_Count[ch], rdPtr[ch], wrPtr[ch], rcvdLen[ch], totalSentBytes[ch], totalRcvdBytes[ch]);
	}
}

int32_t U2E_tcps(uint8_t sn, uint16_t port)
{
//	UART_HandleTypeDef *huart;
//	huart = gethuart(sn);
   int32_t ret;
   uint16_t size = 0, sentsize=0;
   uint16_t i;

   uint8_t buf[DATA_BUF_SIZE] = {0,};

#ifdef _LOOPBACK_DEBUG_
   uint8_t destip[4];
   uint16_t destport;
#endif

   switch(getSn_SR(sn))
   {
      case SOCK_ESTABLISHED :
         if(getSn_IR(sn) & Sn_IR_CON)
         {
#ifdef _LOOPBACK_DEBUG_
			getSn_DIPR(sn, destip);
			destport = getSn_DPORT(sn);

			printf("%d:Connected - %d.%d.%d.%d : %d\r\n",sn, destip[0], destip[1], destip[2], destip[3], destport);
#endif
			setSn_IR(sn,Sn_IR_CON);
         }

//		if(DMATxStart[sn])
		if(UartTxEnable[sn])
     	{
//			printf("data to read arrived\r\n");
			if((size = getSn_RX_RSR(sn)) > 0) // Don't need to check SOCKERR_BUSY because it doesn't occur.
			{
				if(size > DATA_BUF_SIZE) size = DATA_BUF_SIZE;
				ret = recv(sn, DMATxBuf[sn], size);
				printf("rcvd bytes: %d\r\n", ret);
//				printf("\r\nrcvd data: \r\n%s\r\n\r\n", DMATxBuf[sn]);

				HAL_UART_Transmit_DMA(gethuart(sn), DMATxBuf[sn], ret);
				UartTxEnable[sn] = 0;
//				DMATxStart[sn] = 0;
				_TX_Count[sn] += 1;
				totalSentBytes[sn] += ret;
				printf("================\r\n");
				printf("UART%d HAL_UART_Transmit_DMA sent: %d bytes\r\n", (sn + 1), ret);
			}
     	}

		// DMA Rx Data가 있으면 User Buffer로 복사한다.
		if(rcvFlag[sn])
		{
	//		huart = gethuart(ch);
			printf("ch[%d] rcvFlag: %d, %d, %d, %d\r\n", sn, rcvFlag[0], rcvFlag[1], rcvFlag[2], rcvFlag[3]);
			rcvFlag[sn] = 0;
			printf("ch[%d] rcvFlag: %d, %d, %d, %d\r\n", sn, rcvFlag[0], rcvFlag[1], rcvFlag[2], rcvFlag[3]);

			UART_Data_Process(gethuart(sn));
			if(rcvdLen[sn] > 0)
			{
//				printf("\r\nRxBuf[%d] rcvdLen: %d \r\n%s\r\n", sn, rcvdLen[sn], RxBuf[sn]);
				ret = send(sn, RxBuf[sn], rcvdLen[sn]);
				printf("sent bytes: %d\r\n", ret);
			}
			printf("CH[%d] _TX_Count: %d, _HT_Count: %d, _TC_Count: %d, _IDLE_Count: %d, rdPtr: %d, wrPtr: %d, rcvdLen: %d, totalSentBytes: %d, totalRcvdBytes: %d\r\n",
					sn, _TX_Count[sn], _HT_Count[sn], _TC_Count[sn], _IDLE_Count[sn], rdPtr[sn], wrPtr[sn], rcvdLen[sn], totalSentBytes[sn], totalRcvdBytes[sn]);
		}

         break;
      case SOCK_CLOSE_WAIT :
#ifdef _LOOPBACK_DEBUG_
         //printf("%d:CloseWait\r\n",sn);
#endif
         if((ret = disconnect(sn)) != SOCK_OK) return ret;
#ifdef _LOOPBACK_DEBUG_
         printf("%d:Socket Closed\r\n", sn);
#endif
         break;
      case SOCK_INIT :
#ifdef _LOOPBACK_DEBUG_
    	 printf("%d:Listen, TCP server loopback, port [%d]\r\n", sn, port);
#endif
         if( (ret = listen(sn)) != SOCK_OK) return ret;
         break;
      case SOCK_CLOSED:
#ifdef _LOOPBACK_DEBUG_
         //printf("%d:TCP server loopback start\r\n",sn);
#endif
         if((ret = socket(sn, Sn_MR_TCP, port, 0x00)) != sn) return ret;
#ifdef _LOOPBACK_DEBUG_
         //printf("%d:Socket opened\r\n",sn);
#endif
         break;
      default:
         break;
   }
   return 1;
}

/* USER CODE END 4 */

void Error_Handler(void)
{
}

/************************ (C) COPYRIGHT STMicroelectronics *****END OF FILE****/
